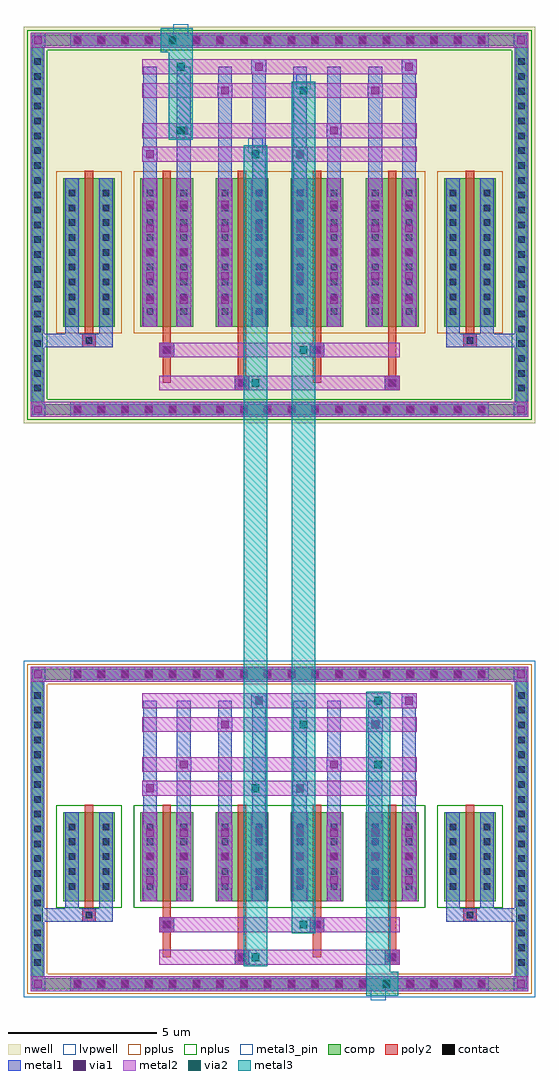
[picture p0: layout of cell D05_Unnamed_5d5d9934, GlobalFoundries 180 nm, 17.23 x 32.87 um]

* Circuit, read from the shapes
.subckt D05_Unnamed_5d5d9934 VSS
XM1 VSS VSS VSS VSS nfet_03v3 w=3u l=0.28u m=2
XM2 VSS D05_Unnamed_7b27bf8f_18/RFN D05_Unnamed_735a932f_17/RFP VSS nfet_03v3 w=3u l=0.28u m=2
XM3 VSS D05_Unnamed_735a932f_17/RFP D05_Unnamed_7b27bf8f_18/RFN VSS nfet_03v3 w=3u l=0.28u m=2
XM4 D05_Unnamed_7690526e_16/VRECT D05_Unnamed_7690526e_16/VRECT D05_Unnamed_7690526e_16/VRECT D05_Unnamed_7690526e_16/VRECT pfet_03v3 w=5u l=0.28u m=2
XM5 D05_Unnamed_7690526e_16/VRECT D05_Unnamed_7b27bf8f_18/RFN D05_Unnamed_735a932f_17/RFP D05_Unnamed_7690526e_16/VRECT pfet_03v3 w=5u l=0.28u m=2
XM6 D05_Unnamed_7690526e_16/VRECT D05_Unnamed_735a932f_17/RFP D05_Unnamed_7b27bf8f_18/RFN D05_Unnamed_7690526e_16/VRECT pfet_03v3 w=5u l=0.28u m=2
.ends

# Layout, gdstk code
import gdstk
lib = gdstk.Library(unit=1e-6, precision=5e-09)
def R(c, l, rs):  # rectangles x0, y0, x1, y1
    for r in rs: c.add(gdstk.rectangle(r[:2], r[2:], *l))
def A(c, l, x, y, w, h, nx, ny, dx, dy):  # array of equal rectangles
    R(c, l, [(x+i*dx, y+j*dy, x+i*dx+w, y+j*dy+h) for i in range(nx) for j in range(ny)])
def P(c, l, *ps):  # polygons
    for p in ps: c.add(gdstk.Polygon(p, *l))
nwell = (21, 0)
comp = (22, 0)
poly2 = (30, 0)
pplus = (31, 0)
nplus = (32, 0)
contact = (33, 0)
metal1 = (34, 0)
via1 = (35, 0)
metal2 = (36, 0)
via2 = (38, 0)
metal3 = (42, 0)
metal3_pin = (42, 10)
lvpwell = (204, 0)

d05_unnamed_611bf929_1 = lib.new_cell('D05_Unnamed_611bf929_1')
R(d05_unnamed_611bf929_1, nwell, [(-8.455,-6.515,8.455,6.515)])
A(d05_unnamed_611bf929_1, comp, -6.98, -6.395, 0.36, 0.36, 18, 2, 0.8, 12.43)
A(d05_unnamed_611bf929_1, comp, -8.335, -5.68, 0.36, 0.36, 1, 23, 0, 0.5)
A(d05_unnamed_611bf929_1, comp, 7.975, -5.68, 0.36, 0.36, 1, 23, 0, 0.5)
R(d05_unnamed_611bf929_1, comp, [(-6.98,-6.395,6.98,-6.035), (-8.335,-5.68,-7.975,5.68), (7.975,-5.68,8.335,5.68), (-6.98,6.035,6.98,6.395)])
P(d05_unnamed_611bf929_1, comp, [(-8.335,-6.395),(-8.335,-6.035),(-7.975,-6.035),(7.975,-6.035),(7.975,6.035),(-7.975,6.035),(-7.975,-6.035),(-8.335,-6.035),(-8.335,6.395),(8.335,6.395),(8.335,-6.395)])
P(d05_unnamed_611bf929_1, nplus, [(-8.495,-6.555),(-8.495,-5.875),(-7.815,-5.875),(7.815,-5.875),(7.815,5.875),(-7.815,5.875),(-7.815,-5.875),(-8.495,-5.875),(-8.495,6.555),(8.495,6.555),(8.495,-6.555)])
A(d05_unnamed_611bf929_1, contact, -6.91, -6.325, 0.22, 0.22, 18, 2, 0.8, 12.43)
A(d05_unnamed_611bf929_1, contact, -8.265, -5.61, 0.22, 0.22, 1, 23, 0, 0.5)
A(d05_unnamed_611bf929_1, contact, 8.045, -5.61, 0.22, 0.22, 1, 23, 0, 0.5)
A(d05_unnamed_611bf929_1, metal1, -7.05, -6.465, 0.5, 0.5, 18, 2, 0.8, 12.43)
A(d05_unnamed_611bf929_1, metal1, -8.385, -5.73, 0.46, 0.46, 1, 23, 0, 0.5)
A(d05_unnamed_611bf929_1, metal1, 7.925, -5.73, 0.46, 0.46, 1, 23, 0, 0.5)
R(d05_unnamed_611bf929_1, metal1, [(-8.385,-6.465,-7.885,-5.965), (-8.385,-6.465,-7.885,-5.965), (-8.385,-6.465,-7.925,-6.035), (-7.05,-6.465,7.05,-5.965), (7.885,-6.465,8.385,-5.965), (7.885,-6.465,8.385,-5.965), (7.925,-6.465,8.385,-6.035), (-8.385,-6.035,-7.925,6.035), (7.925,-6.035,8.385,6.035), (-8.385,5.965,-7.885,6.465), (-8.385,5.965,-7.885,6.465), (-7.05,5.965,7.05,6.465), (7.885,5.965,8.385,6.465), (7.885,5.965,8.385,6.465), (-8.385,6.035,-7.925,6.465), (7.925,6.035,8.385,6.465)])
A(d05_unnamed_611bf929_1, via1, -6.93, -6.345, 0.26, 0.26, 18, 2, 0.8, 12.43)
R(d05_unnamed_611bf929_1, via1, [(-8.265,-6.345,-8.005,-6.085), (8.005,-6.345,8.265,-6.085), (-8.265,6.085,-8.005,6.345), (8.005,6.085,8.265,6.345)])
A(d05_unnamed_611bf929_1, metal2, -7.05, -6.465, 0.5, 0.5, 18, 2, 0.8, 12.43)
R(d05_unnamed_611bf929_1, metal2, [(-8.385,-6.465,-7.975,-5.965), (-8.385,-6.465,-7.885,-5.965), (-8.385,-6.465,-7.885,-5.965), (-7.975,-6.465,7.975,-5.965), (7.885,-6.465,8.385,-5.965), (7.885,-6.465,8.385,-5.965), (7.975,-6.465,8.385,-5.965), (-8.385,5.965,-7.975,6.465), (-8.385,5.965,-7.885,6.465), (-8.385,5.965,-7.885,6.465), (-7.975,5.965,7.975,6.465), (7.885,5.965,8.385,6.465), (7.885,5.965,8.385,6.465), (7.975,5.965,8.385,6.465)])

d05_straight_route_72f73 = lib.new_cell('D05_straight_route_72f736a4_1')
R(d05_straight_route_72f73, metal1, [(-8.385,-4.125,-6.645,-3.665)])

d05_straight_route_c9a99 = lib.new_cell('D05_straight_route_c9a99b65_1')
R(d05_straight_route_c9a99, metal1, [(6.645,-4.125,8.385,-3.665)])

d05_transformed_901ced44 = lib.new_cell('D05_transformed_901ced44')
R(d05_transformed_901ced44, nwell, [(-8.615,-6.675,8.615,6.675)])
A(d05_transformed_901ced44, comp, -4.685, -3.425, 1.78, 5, 4, 1, 2.53, 0)
R(d05_transformed_901ced44, comp, [(-7.285,-3.425,-5.545,1.575), (5.545,-3.425,7.285,1.575)])
A(d05_transformed_901ced44, poly2, -3.935, -3.665, 0.28, 5.48, 4, 1, 2.53, 0)
R(d05_transformed_901ced44, poly2, [(-1.515,-5.575,-1.015,-5.075), (3.545,-5.575,4.045,-5.075), (-1.445,-5.505,-1.085,-5.145), (3.615,-5.505,3.975,-5.145), (-3.935,-5.325,-3.655,-3.665), (1.125,-5.325,1.405,-3.665), (-1.405,-5.075,-1.125,-3.665), (3.655,-5.075,3.935,-3.665), (-4.045,-4.465,-3.545,-3.965), (1.015,-4.465,1.515,-3.965), (-3.975,-4.395,-3.615,-4.035), (1.085,-4.395,1.445,-4.035), (-6.645,-4.125,-6.185,-3.665), (6.185,-4.125,6.645,-3.665), (-6.595,-4.075,-6.235,-3.715), (6.235,-4.075,6.595,-3.715), (-3.935,-3.965,-3.655,-3.665), (1.125,-3.965,1.405,-3.665), (-6.555,-3.665,-6.275,1.815), (6.275,-3.665,6.555,1.815)])
A(d05_transformed_901ced44, pplus, -4.915, -3.655, 2.24, 5.46, 4, 1, 2.53, 0)
R(d05_transformed_901ced44, pplus, [(-7.515,-3.655,-5.315,1.805), (-4.915,-3.655,4.915,1.805), (5.315,-3.655,7.515,1.805)])
A(d05_transformed_901ced44, contact, -7.095, -3.035, 0.22, 0.22, 1, 9, 0, 0.5)
A(d05_transformed_901ced44, contact, -5.955, -3.035, 0.22, 0.22, 1, 9, 0, 0.5)
A(d05_transformed_901ced44, contact, -4.475, -3.035, 0.22, 0.22, 1, 9, 0, 0.5)
A(d05_transformed_901ced44, contact, -3.335, -3.035, 0.22, 0.22, 1, 9, 0, 0.5)
A(d05_transformed_901ced44, contact, -1.945, -3.035, 0.22, 0.22, 1, 9, 0, 0.5)
A(d05_transformed_901ced44, contact, -0.805, -3.035, 0.22, 0.22, 1, 9, 0, 0.5)
A(d05_transformed_901ced44, contact, 0.585, -3.035, 0.22, 0.22, 1, 9, 0, 0.5)
A(d05_transformed_901ced44, contact, 1.725, -3.035, 0.22, 0.22, 1, 9, 0, 0.5)
A(d05_transformed_901ced44, contact, 3.115, -3.035, 0.22, 0.22, 1, 9, 0, 0.5)
A(d05_transformed_901ced44, contact, 4.255, -3.035, 0.22, 0.22, 1, 9, 0, 0.5)
A(d05_transformed_901ced44, contact, 5.735, -3.035, 0.22, 0.22, 1, 9, 0, 0.5)
A(d05_transformed_901ced44, contact, 6.875, -3.035, 0.22, 0.22, 1, 9, 0, 0.5)
R(d05_transformed_901ced44, contact, [(-1.375,-5.435,-1.155,-5.215), (3.685,-5.435,3.905,-5.215), (-3.905,-4.325,-3.685,-4.105), (1.155,-4.325,1.375,-4.105), (-6.525,-4.005,-6.305,-3.785), (6.305,-4.005,6.525,-3.785)])
A(d05_transformed_901ced44, metal1, -7.215, -3.155, 0.46, 0.46, 1, 9, 0, 0.5)
A(d05_transformed_901ced44, metal1, -6.075, -3.155, 0.46, 0.46, 1, 9, 0, 0.5)
A(d05_transformed_901ced44, metal1, -4.595, -3.155, 0.46, 0.46, 1, 9, 0, 0.5)
A(d05_transformed_901ced44, metal1, -3.455, -3.155, 0.46, 0.46, 1, 9, 0, 0.5)
A(d05_transformed_901ced44, metal1, -2.065, -3.155, 0.46, 0.46, 1, 9, 0, 0.5)
A(d05_transformed_901ced44, metal1, -0.925, -3.155, 0.46, 0.46, 1, 9, 0, 0.5)
A(d05_transformed_901ced44, metal1, 0.465, -3.155, 0.46, 0.46, 1, 9, 0, 0.5)
A(d05_transformed_901ced44, metal1, 1.605, -3.155, 0.46, 0.46, 1, 9, 0, 0.5)
A(d05_transformed_901ced44, metal1, 2.995, -3.155, 0.46, 0.46, 1, 9, 0, 0.5)
A(d05_transformed_901ced44, metal1, 4.135, -3.155, 0.46, 0.46, 1, 9, 0, 0.5)
A(d05_transformed_901ced44, metal1, 5.615, -3.155, 0.46, 0.46, 1, 9, 0, 0.5)
A(d05_transformed_901ced44, metal1, 6.755, -3.155, 0.46, 0.46, 1, 9, 0, 0.5)
A(d05_transformed_901ced44, metal1, -4.615, -2.775, 0.5, 0.5, 1, 5, 0, 0.8)
A(d05_transformed_901ced44, metal1, -3.475, -2.775, 0.5, 0.5, 1, 5, 0, 0.8)
A(d05_transformed_901ced44, metal1, -2.085, -2.775, 0.5, 0.5, 1, 5, 0, 0.8)
A(d05_transformed_901ced44, metal1, -0.945, -2.775, 0.5, 0.5, 1, 5, 0, 0.8)
A(d05_transformed_901ced44, metal1, 0.445, -2.775, 0.5, 0.5, 1, 5, 0, 0.8)
A(d05_transformed_901ced44, metal1, 1.585, -2.775, 0.5, 0.5, 1, 5, 0, 0.8)
A(d05_transformed_901ced44, metal1, 2.975, -2.775, 0.5, 0.5, 1, 5, 0, 0.8)
A(d05_transformed_901ced44, metal1, 4.115, -2.775, 0.5, 0.5, 1, 5, 0, 0.8)
R(d05_transformed_901ced44, metal1, [(-1.515,-5.575,-1.015,-5.075), (3.545,-5.575,4.045,-5.075), (-4.045,-4.465,-3.545,-3.965), (1.015,-4.465,1.515,-3.965), (-7.215,-4.125,-6.645,-3.665), (-7.215,-4.125,-6.755,-3.425), (-6.645,-4.125,-6.185,-3.665), (-6.185,-4.125,-5.615,-3.665), (-6.075,-4.125,-5.615,-3.425), (5.615,-4.125,6.185,-3.665), (5.615,-4.125,6.075,-3.425), (6.185,-4.125,6.645,-3.665), (6.645,-4.125,7.215,-3.665), (6.755,-4.125,7.215,-3.425), (-7.215,-3.425,-6.755,1.575), (-6.075,-3.425,-5.615,1.575), (-4.595,-3.425,-4.135,1.575), (-3.455,-3.425,-2.995,1.575), (-2.065,-3.425,-1.605,1.575), (-0.925,-3.425,-0.465,1.575), (0.465,-3.425,0.925,1.575), (1.605,-3.425,2.065,1.575), (2.995,-3.425,3.455,1.575), (4.135,-3.425,4.595,1.575), (5.615,-3.425,6.075,1.575), (6.755,-3.425,7.215,1.575), (-4.615,-2.775,-4.115,0.925), (-3.475,-2.775,-2.975,0.925), (-2.085,-2.775,-1.585,0.925), (-0.945,-2.775,-0.445,0.925), (0.445,-2.775,0.945,0.925), (1.585,-2.775,2.085,0.925), (2.975,-2.775,3.475,0.925), (4.115,-2.775,4.615,0.925), (-4.595,1.575,-4.135,2.625), (-4.595,1.575,-4.135,5.325), (-3.455,1.575,-2.995,3.425), (-3.455,1.575,-2.995,5.325), (-2.065,1.575,-1.605,4.775), (-2.065,1.575,-1.605,5.325), (-0.925,1.575,-0.465,5.575), (-0.925,1.575,-0.465,5.325), (0.465,1.575,0.925,2.625), (0.465,1.575,0.925,5.325), (1.605,1.575,2.065,3.425), (1.605,1.575,2.065,5.325), (2.995,1.575,3.455,4.775), (2.995,1.575,3.455,5.325), (4.135,1.575,4.595,5.575), (4.135,1.575,4.595,5.325), (-4.615,2.125,-4.115,2.625), (0.445,2.125,0.945,2.625), (-3.475,2.925,-2.975,3.425), (1.585,2.925,2.085,3.425), (-2.085,4.275,-1.585,4.775), (2.975,4.275,3.475,4.775), (-0.945,5.075,-0.445,5.575), (4.115,5.075,4.615,5.575)])
A(d05_transformed_901ced44, via1, -4.495, -2.655, 0.26, 0.26, 1, 5, 0, 0.8)
A(d05_transformed_901ced44, via1, -3.355, -2.655, 0.26, 0.26, 1, 5, 0, 0.8)
A(d05_transformed_901ced44, via1, -1.965, -2.655, 0.26, 0.26, 1, 5, 0, 0.8)
A(d05_transformed_901ced44, via1, -0.825, -2.655, 0.26, 0.26, 1, 5, 0, 0.8)
A(d05_transformed_901ced44, via1, 0.565, -2.655, 0.26, 0.26, 1, 5, 0, 0.8)
A(d05_transformed_901ced44, via1, 1.705, -2.655, 0.26, 0.26, 1, 5, 0, 0.8)
A(d05_transformed_901ced44, via1, 3.095, -2.655, 0.26, 0.26, 1, 5, 0, 0.8)
A(d05_transformed_901ced44, via1, 4.235, -2.655, 0.26, 0.26, 1, 5, 0, 0.8)
R(d05_transformed_901ced44, via1, [(-1.395,-5.455,-1.135,-5.195), (3.665,-5.455,3.925,-5.195), (-3.925,-4.345,-3.665,-4.085), (1.135,-4.345,1.395,-4.085), (-4.495,2.245,-4.235,2.505), (0.565,2.245,0.825,2.505), (-3.355,3.045,-3.095,3.305), (1.705,3.045,1.965,3.305), (-1.965,4.395,-1.705,4.655), (3.095,4.395,3.355,4.655), (-0.825,5.195,-0.565,5.455), (4.235,5.195,4.495,5.455)])
A(d05_transformed_901ced44, metal2, -4.615, -2.775, 0.5, 0.5, 1, 5, 0, 0.8)
A(d05_transformed_901ced44, metal2, -3.475, -2.775, 0.5, 0.5, 1, 5, 0, 0.8)
A(d05_transformed_901ced44, metal2, -2.085, -2.775, 0.5, 0.5, 1, 5, 0, 0.8)
A(d05_transformed_901ced44, metal2, -0.945, -2.775, 0.5, 0.5, 1, 5, 0, 0.8)
A(d05_transformed_901ced44, metal2, 0.445, -2.775, 0.5, 0.5, 1, 5, 0, 0.8)
A(d05_transformed_901ced44, metal2, 1.585, -2.775, 0.5, 0.5, 1, 5, 0, 0.8)
A(d05_transformed_901ced44, metal2, 2.975, -2.775, 0.5, 0.5, 1, 5, 0, 0.8)
A(d05_transformed_901ced44, metal2, 4.115, -2.775, 0.5, 0.5, 1, 5, 0, 0.8)
R(d05_transformed_901ced44, metal2, [(-4.045,-5.575,4.045,-5.075), (-1.515,-5.575,-1.015,-5.075), (-1.515,-5.575,-1.015,-5.075), (3.545,-5.575,4.045,-5.075), (3.545,-5.575,4.045,-5.075), (-4.045,-4.465,-3.545,-3.965), (-4.045,-4.465,-3.545,-3.965), (-4.045,-4.465,4.045,-3.965), (1.015,-4.465,1.515,-3.965), (1.015,-4.465,1.515,-3.965), (-4.615,-3.425,-4.115,1.575), (-3.475,-3.425,-2.975,1.575), (-2.085,-3.425,-1.585,1.575), (-0.945,-3.425,-0.445,1.575), (0.445,-3.425,0.945,1.575), (1.585,-3.425,2.085,1.575), (2.975,-3.425,3.475,1.575), (4.115,-3.425,4.615,1.575), (-4.615,2.125,-4.115,2.625), (-4.615,2.125,-2.975,2.625), (-4.615,2.125,4.615,2.625), (0.445,2.125,0.945,2.625), (0.445,2.125,2.085,2.625), (-4.615,2.925,-2.975,3.425), (-4.615,2.925,4.615,3.425), (-3.475,2.925,-2.975,3.425), (0.445,2.925,2.085,3.425), (1.585,2.925,2.085,3.425), (-4.615,4.275,4.615,4.775), (-2.085,4.275,-1.585,4.775), (-2.085,4.275,-0.445,4.775), (2.975,4.275,3.475,4.775), (2.975,4.275,4.615,4.775), (-4.615,5.075,4.615,5.575), (-2.085,5.075,-0.445,5.575), (-0.945,5.075,-0.445,5.575), (2.975,5.075,4.615,5.575), (4.115,5.075,4.615,5.575)])
d05_transformed_901ced44.add(gdstk.Reference(d05_unnamed_611bf929_1, (0,0)))
d05_transformed_901ced44.add(gdstk.Reference(d05_straight_route_72f73, (0,0)))
d05_transformed_901ced44.add(gdstk.Reference(d05_straight_route_c9a99, (0,0)))

d05_unnamed_8a1b80f1_1 = lib.new_cell('D05_Unnamed_8a1b80f1_1')
A(d05_unnamed_8a1b80f1_1, comp, -6.98, -5.39, 0.36, 0.36, 18, 2, 0.8, 10.42)
A(d05_unnamed_8a1b80f1_1, comp, -8.335, -4.68, 0.36, 0.36, 1, 19, 0, 0.5)
A(d05_unnamed_8a1b80f1_1, comp, 7.975, -4.68, 0.36, 0.36, 1, 19, 0, 0.5)
R(d05_unnamed_8a1b80f1_1, comp, [(-6.98,-5.39,6.98,-5.03), (-8.335,-4.68,-7.975,4.68), (7.975,-4.68,8.335,4.68), (-6.98,5.03,6.98,5.39)])
P(d05_unnamed_8a1b80f1_1, comp, [(-8.335,-5.39),(-8.335,-5.03),(-7.975,-5.03),(7.975,-5.03),(7.975,5.03),(-7.975,5.03),(-7.975,-5.03),(-8.335,-5.03),(-8.335,5.39),(8.335,5.39),(8.335,-5.39)])
P(d05_unnamed_8a1b80f1_1, pplus, [(-8.495,-5.55),(-8.495,-4.87),(-7.815,-4.87),(7.815,-4.87),(7.815,4.87),(-7.815,4.87),(-7.815,-4.87),(-8.495,-4.87),(-8.495,5.55),(8.495,5.55),(8.495,-5.55)])
A(d05_unnamed_8a1b80f1_1, contact, -6.91, -5.32, 0.22, 0.22, 18, 2, 0.8, 10.42)
A(d05_unnamed_8a1b80f1_1, contact, -8.265, -4.61, 0.22, 0.22, 1, 19, 0, 0.5)
A(d05_unnamed_8a1b80f1_1, contact, 8.045, -4.61, 0.22, 0.22, 1, 19, 0, 0.5)
A(d05_unnamed_8a1b80f1_1, metal1, -7.05, -5.46, 0.5, 0.5, 18, 2, 0.8, 10.42)
A(d05_unnamed_8a1b80f1_1, metal1, -8.385, -4.73, 0.46, 0.46, 1, 19, 0, 0.5)
A(d05_unnamed_8a1b80f1_1, metal1, 7.925, -4.73, 0.46, 0.46, 1, 19, 0, 0.5)
R(d05_unnamed_8a1b80f1_1, metal1, [(-8.385,-5.46,-7.885,-4.96), (-8.385,-5.46,-7.885,-4.96), (-8.385,-5.46,-7.925,-5.03), (-7.05,-5.46,7.05,-4.96), (7.885,-5.46,8.385,-4.96), (7.885,-5.46,8.385,-4.96), (7.925,-5.46,8.385,-5.03), (-8.385,-5.03,-7.925,5.03), (7.925,-5.03,8.385,5.03), (-8.385,4.96,-7.885,5.46), (-8.385,4.96,-7.885,5.46), (-7.05,4.96,7.05,5.46), (7.885,4.96,8.385,5.46), (7.885,4.96,8.385,5.46), (-8.385,5.03,-7.925,5.46), (7.925,5.03,8.385,5.46)])
A(d05_unnamed_8a1b80f1_1, via1, -6.93, -5.34, 0.26, 0.26, 18, 2, 0.8, 10.42)
R(d05_unnamed_8a1b80f1_1, via1, [(-8.265,-5.34,-8.005,-5.08), (8.005,-5.34,8.265,-5.08), (-8.265,5.08,-8.005,5.34), (8.005,5.08,8.265,5.34)])
A(d05_unnamed_8a1b80f1_1, metal2, -7.05, -5.46, 0.5, 0.5, 18, 2, 0.8, 10.42)
R(d05_unnamed_8a1b80f1_1, metal2, [(-8.385,-5.46,-7.975,-4.96), (-8.385,-5.46,-7.885,-4.96), (-8.385,-5.46,-7.885,-4.96), (-7.975,-5.46,7.975,-4.96), (7.885,-5.46,8.385,-4.96), (7.885,-5.46,8.385,-4.96), (7.975,-5.46,8.385,-4.96), (-8.385,4.96,-7.975,5.46), (-8.385,4.96,-7.885,5.46), (-8.385,4.96,-7.885,5.46), (-7.975,4.96,7.975,5.46), (7.885,4.96,8.385,5.46), (7.885,4.96,8.385,5.46), (7.975,4.96,8.385,5.46)])

d05_straight_route_810a0 = lib.new_cell('D05_straight_route_810a05b2_1')
R(d05_straight_route_810a0, metal1, [(-8.385,-3.13,-6.645,-2.67)])

d05_straight_route_8cf61 = lib.new_cell('D05_straight_route_8cf611d4_1')
R(d05_straight_route_8cf61, metal1, [(6.645,-3.13,8.385,-2.67)])

d05_transformed_08b99191 = lib.new_cell('D05_transformed_08b99191')
A(d05_transformed_08b99191, comp, -4.685, -2.43, 1.78, 3, 4, 1, 2.53, 0)
R(d05_transformed_08b99191, comp, [(-7.285,-2.43,-5.545,0.57), (5.545,-2.43,7.285,0.57)])
A(d05_transformed_08b99191, poly2, -3.935, -2.67, 0.28, 3.48, 4, 1, 2.53, 0)
R(d05_transformed_08b99191, poly2, [(-1.515,-4.57,-1.015,-4.07), (3.545,-4.57,4.045,-4.07), (-1.445,-4.5,-1.085,-4.14), (3.615,-4.5,3.975,-4.14), (-3.935,-4.32,-3.655,-2.67), (1.125,-4.32,1.405,-2.67), (-1.405,-4.07,-1.125,-2.67), (3.655,-4.07,3.935,-2.67), (-4.045,-3.47,-3.545,-2.97), (1.015,-3.47,1.515,-2.97), (-3.975,-3.4,-3.615,-3.04), (1.085,-3.4,1.445,-3.04), (-6.645,-3.13,-6.185,-2.67), (6.185,-3.13,6.645,-2.67), (-6.595,-3.08,-6.235,-2.72), (6.235,-3.08,6.595,-2.72), (-3.935,-2.97,-3.655,-2.67), (1.125,-2.97,1.405,-2.67), (-6.555,-2.67,-6.275,0.81), (6.275,-2.67,6.555,0.81)])
A(d05_transformed_08b99191, nplus, -4.915, -2.66, 2.24, 3.46, 4, 1, 2.53, 0)
R(d05_transformed_08b99191, nplus, [(-7.515,-2.66,-5.315,0.8), (-4.915,-2.66,4.915,0.8), (5.315,-2.66,7.515,0.8)])
A(d05_transformed_08b99191, contact, -7.095, -2.04, 0.22, 0.22, 1, 5, 0, 0.5)
A(d05_transformed_08b99191, contact, -5.955, -2.04, 0.22, 0.22, 1, 5, 0, 0.5)
A(d05_transformed_08b99191, contact, -4.475, -2.04, 0.22, 0.22, 1, 5, 0, 0.5)
A(d05_transformed_08b99191, contact, -3.335, -2.04, 0.22, 0.22, 1, 5, 0, 0.5)
A(d05_transformed_08b99191, contact, -1.945, -2.04, 0.22, 0.22, 1, 5, 0, 0.5)
A(d05_transformed_08b99191, contact, -0.805, -2.04, 0.22, 0.22, 1, 5, 0, 0.5)
A(d05_transformed_08b99191, contact, 0.585, -2.04, 0.22, 0.22, 1, 5, 0, 0.5)
A(d05_transformed_08b99191, contact, 1.725, -2.04, 0.22, 0.22, 1, 5, 0, 0.5)
A(d05_transformed_08b99191, contact, 3.115, -2.04, 0.22, 0.22, 1, 5, 0, 0.5)
A(d05_transformed_08b99191, contact, 4.255, -2.04, 0.22, 0.22, 1, 5, 0, 0.5)
A(d05_transformed_08b99191, contact, 5.735, -2.04, 0.22, 0.22, 1, 5, 0, 0.5)
A(d05_transformed_08b99191, contact, 6.875, -2.04, 0.22, 0.22, 1, 5, 0, 0.5)
R(d05_transformed_08b99191, contact, [(-1.375,-4.43,-1.155,-4.21), (3.685,-4.43,3.905,-4.21), (-3.905,-3.33,-3.685,-3.11), (1.155,-3.33,1.375,-3.11), (-6.525,-3.01,-6.305,-2.79), (6.305,-3.01,6.525,-2.79)])
A(d05_transformed_08b99191, metal1, -7.215, -2.16, 0.46, 0.46, 1, 5, 0, 0.5)
A(d05_transformed_08b99191, metal1, -6.075, -2.16, 0.46, 0.46, 1, 5, 0, 0.5)
A(d05_transformed_08b99191, metal1, -4.595, -2.16, 0.46, 0.46, 1, 5, 0, 0.5)
A(d05_transformed_08b99191, metal1, -3.455, -2.16, 0.46, 0.46, 1, 5, 0, 0.5)
A(d05_transformed_08b99191, metal1, -2.065, -2.16, 0.46, 0.46, 1, 5, 0, 0.5)
A(d05_transformed_08b99191, metal1, -0.925, -2.16, 0.46, 0.46, 1, 5, 0, 0.5)
A(d05_transformed_08b99191, metal1, 0.465, -2.16, 0.46, 0.46, 1, 5, 0, 0.5)
A(d05_transformed_08b99191, metal1, 1.605, -2.16, 0.46, 0.46, 1, 5, 0, 0.5)
A(d05_transformed_08b99191, metal1, 2.995, -2.16, 0.46, 0.46, 1, 5, 0, 0.5)
A(d05_transformed_08b99191, metal1, 4.135, -2.16, 0.46, 0.46, 1, 5, 0, 0.5)
A(d05_transformed_08b99191, metal1, 5.615, -2.16, 0.46, 0.46, 1, 5, 0, 0.5)
A(d05_transformed_08b99191, metal1, 6.755, -2.16, 0.46, 0.46, 1, 5, 0, 0.5)
A(d05_transformed_08b99191, metal1, -4.615, -1.98, 0.5, 0.5, 1, 3, 0, 0.8)
A(d05_transformed_08b99191, metal1, -3.475, -1.98, 0.5, 0.5, 1, 3, 0, 0.8)
A(d05_transformed_08b99191, metal1, -2.085, -1.98, 0.5, 0.5, 1, 3, 0, 0.8)
A(d05_transformed_08b99191, metal1, -0.945, -1.98, 0.5, 0.5, 1, 3, 0, 0.8)
A(d05_transformed_08b99191, metal1, 0.445, -1.98, 0.5, 0.5, 1, 3, 0, 0.8)
A(d05_transformed_08b99191, metal1, 1.585, -1.98, 0.5, 0.5, 1, 3, 0, 0.8)
A(d05_transformed_08b99191, metal1, 2.975, -1.98, 0.5, 0.5, 1, 3, 0, 0.8)
A(d05_transformed_08b99191, metal1, 4.115, -1.98, 0.5, 0.5, 1, 3, 0, 0.8)
R(d05_transformed_08b99191, metal1, [(-1.515,-4.57,-1.015,-4.07), (3.545,-4.57,4.045,-4.07), (-4.045,-3.47,-3.545,-2.97), (1.015,-3.47,1.515,-2.97), (-7.215,-3.13,-6.645,-2.67), (-7.215,-3.13,-6.755,-2.43), (-6.645,-3.13,-6.185,-2.67), (-6.185,-3.13,-5.615,-2.67), (-6.075,-3.13,-5.615,-2.43), (5.615,-3.13,6.185,-2.67), (5.615,-3.13,6.075,-2.43), (6.185,-3.13,6.645,-2.67), (6.645,-3.13,7.215,-2.67), (6.755,-3.13,7.215,-2.43), (-7.215,-2.43,-6.755,0.57), (-6.075,-2.43,-5.615,0.57), (-4.595,-2.43,-4.135,0.57), (-3.455,-2.43,-2.995,0.57), (-2.065,-2.43,-1.605,0.57), (-0.925,-2.43,-0.465,0.57), (0.465,-2.43,0.925,0.57), (1.605,-2.43,2.065,0.57), (2.995,-2.43,3.455,0.57), (4.135,-2.43,4.595,0.57), (5.615,-2.43,6.075,0.57), (6.755,-2.43,7.215,0.57), (-4.615,-1.98,-4.115,0.12), (-3.475,-1.98,-2.975,0.12), (-2.085,-1.98,-1.585,0.12), (-0.945,-1.98,-0.445,0.12), (0.445,-1.98,0.945,0.12), (1.585,-1.98,2.085,0.12), (2.975,-1.98,3.475,0.12), (4.115,-1.98,4.615,0.12), (-4.595,0.57,-4.135,1.62), (-4.595,0.57,-4.135,4.32), (-3.455,0.57,-2.995,2.42), (-3.455,0.57,-2.995,4.32), (-2.065,0.57,-1.605,3.77), (-2.065,0.57,-1.605,4.32), (-0.925,0.57,-0.465,4.57), (-0.925,0.57,-0.465,4.32), (0.465,0.57,0.925,1.62), (0.465,0.57,0.925,4.32), (1.605,0.57,2.065,2.42), (1.605,0.57,2.065,4.32), (2.995,0.57,3.455,3.77), (2.995,0.57,3.455,4.32), (4.135,0.57,4.595,4.57), (4.135,0.57,4.595,4.32), (-4.615,1.12,-4.115,1.62), (0.445,1.12,0.945,1.62), (-3.475,1.92,-2.975,2.42), (1.585,1.92,2.085,2.42), (-2.085,3.27,-1.585,3.77), (2.975,3.27,3.475,3.77), (-0.945,4.07,-0.445,4.57), (4.115,4.07,4.615,4.57)])
A(d05_transformed_08b99191, via1, -4.495, -1.86, 0.26, 0.26, 1, 3, 0, 0.8)
A(d05_transformed_08b99191, via1, -3.355, -1.86, 0.26, 0.26, 1, 3, 0, 0.8)
A(d05_transformed_08b99191, via1, -1.965, -1.86, 0.26, 0.26, 1, 3, 0, 0.8)
A(d05_transformed_08b99191, via1, -0.825, -1.86, 0.26, 0.26, 1, 3, 0, 0.8)
A(d05_transformed_08b99191, via1, 0.565, -1.86, 0.26, 0.26, 1, 3, 0, 0.8)
A(d05_transformed_08b99191, via1, 1.705, -1.86, 0.26, 0.26, 1, 3, 0, 0.8)
A(d05_transformed_08b99191, via1, 3.095, -1.86, 0.26, 0.26, 1, 3, 0, 0.8)
A(d05_transformed_08b99191, via1, 4.235, -1.86, 0.26, 0.26, 1, 3, 0, 0.8)
R(d05_transformed_08b99191, via1, [(-1.395,-4.45,-1.135,-4.19), (3.665,-4.45,3.925,-4.19), (-3.925,-3.35,-3.665,-3.09), (1.135,-3.35,1.395,-3.09), (-4.495,1.24,-4.235,1.5), (0.565,1.24,0.825,1.5), (-3.355,2.04,-3.095,2.3), (1.705,2.04,1.965,2.3), (-1.965,3.39,-1.705,3.65), (3.095,3.39,3.355,3.65), (-0.825,4.19,-0.565,4.45), (4.235,4.19,4.495,4.45)])
A(d05_transformed_08b99191, metal2, -4.615, -1.98, 0.5, 0.5, 1, 3, 0, 0.8)
A(d05_transformed_08b99191, metal2, -3.475, -1.98, 0.5, 0.5, 1, 3, 0, 0.8)
A(d05_transformed_08b99191, metal2, -2.085, -1.98, 0.5, 0.5, 1, 3, 0, 0.8)
A(d05_transformed_08b99191, metal2, -0.945, -1.98, 0.5, 0.5, 1, 3, 0, 0.8)
A(d05_transformed_08b99191, metal2, 0.445, -1.98, 0.5, 0.5, 1, 3, 0, 0.8)
A(d05_transformed_08b99191, metal2, 1.585, -1.98, 0.5, 0.5, 1, 3, 0, 0.8)
A(d05_transformed_08b99191, metal2, 2.975, -1.98, 0.5, 0.5, 1, 3, 0, 0.8)
A(d05_transformed_08b99191, metal2, 4.115, -1.98, 0.5, 0.5, 1, 3, 0, 0.8)
R(d05_transformed_08b99191, metal2, [(-4.045,-4.57,4.045,-4.07), (-1.515,-4.57,-1.015,-4.07), (-1.515,-4.57,-1.015,-4.07), (3.545,-4.57,4.045,-4.07), (3.545,-4.57,4.045,-4.07), (-4.045,-3.47,-3.545,-2.97), (-4.045,-3.47,-3.545,-2.97), (-4.045,-3.47,4.045,-2.97), (1.015,-3.47,1.515,-2.97), (1.015,-3.47,1.515,-2.97), (-4.615,-2.43,-4.115,0.57), (-3.475,-2.43,-2.975,0.57), (-2.085,-2.43,-1.585,0.57), (-0.945,-2.43,-0.445,0.57), (0.445,-2.43,0.945,0.57), (1.585,-2.43,2.085,0.57), (2.975,-2.43,3.475,0.57), (4.115,-2.43,4.615,0.57), (-4.615,1.12,-4.115,1.62), (-4.615,1.12,-2.975,1.62), (-4.615,1.12,4.615,1.62), (0.445,1.12,0.945,1.62), (0.445,1.12,2.085,1.62), (-4.615,1.92,-2.975,2.42), (-4.615,1.92,4.615,2.42), (-3.475,1.92,-2.975,2.42), (0.445,1.92,2.085,2.42), (1.585,1.92,2.085,2.42), (-4.615,3.27,4.615,3.77), (-2.085,3.27,-1.585,3.77), (-2.085,3.27,-0.445,3.77), (2.975,3.27,3.475,3.77), (2.975,3.27,4.615,3.77), (-4.615,4.07,4.615,4.57), (-2.085,4.07,-0.445,4.57), (-0.945,4.07,-0.445,4.57), (2.975,4.07,4.615,4.57), (4.115,4.07,4.615,4.57)])
R(d05_transformed_08b99191, lvpwell, [(-8.615,-5.67,8.615,5.67)])
d05_transformed_08b99191.add(gdstk.Reference(d05_unnamed_8a1b80f1_1, (0,0)))
d05_transformed_08b99191.add(gdstk.Reference(d05_straight_route_810a0, (0,0)))
d05_transformed_08b99191.add(gdstk.Reference(d05_straight_route_8cf61, (0,0)))

d05_via_stack_c2d496bb_3 = lib.new_cell('D05_via_stack_c2d496bb_36')
R(d05_via_stack_c2d496bb_3, metal2, [(-0.25,-0.25,0.25,0.25)])
R(d05_via_stack_c2d496bb_3, via2, [(-0.13,-0.13,0.13,0.13)])
R(d05_via_stack_c2d496bb_3, metal3, [(-0.25,-0.25,0.25,0.25)])

c_d05_via_stack_c2d496bb_3 = lib.new_cell('D05_via_stack_c2d496bb_37')
R(c_d05_via_stack_c2d496bb_3, metal2, [(-0.25,-0.25,0.25,0.25)])
R(c_d05_via_stack_c2d496bb_3, via2, [(-0.13,-0.13,0.13,0.13)])
R(c_d05_via_stack_c2d496bb_3, metal3, [(-0.25,-0.25,0.25,0.25)])

c_d05_via_stack_c2d496bb_3_ = lib.new_cell('D05_via_stack_c2d496bb_38')
R(c_d05_via_stack_c2d496bb_3_, metal2, [(-0.25,-0.25,0.25,0.25)])
R(c_d05_via_stack_c2d496bb_3_, via2, [(-0.13,-0.13,0.13,0.13)])
R(c_d05_via_stack_c2d496bb_3_, metal3, [(-0.25,-0.25,0.25,0.25)])

c_d05_via_stack_c2d496bb_3__ = lib.new_cell('D05_via_stack_c2d496bb_39')
R(c_d05_via_stack_c2d496bb_3__, metal2, [(-0.25,-0.25,0.25,0.25)])
R(c_d05_via_stack_c2d496bb_3__, via2, [(-0.13,-0.13,0.13,0.13)])
R(c_d05_via_stack_c2d496bb_3__, metal3, [(-0.25,-0.25,0.25,0.25)])

d05_via_stack_c2d496bb_4 = lib.new_cell('D05_via_stack_c2d496bb_40')
R(d05_via_stack_c2d496bb_4, metal2, [(-0.25,-0.25,0.25,0.25)])
R(d05_via_stack_c2d496bb_4, via2, [(-0.13,-0.13,0.13,0.13)])
R(d05_via_stack_c2d496bb_4, metal3, [(-0.25,-0.25,0.25,0.25)])

c_d05_via_stack_c2d496bb_4 = lib.new_cell('D05_via_stack_c2d496bb_41')
R(c_d05_via_stack_c2d496bb_4, metal2, [(-0.25,-0.25,0.25,0.25)])
R(c_d05_via_stack_c2d496bb_4, via2, [(-0.13,-0.13,0.13,0.13)])
R(c_d05_via_stack_c2d496bb_4, metal3, [(-0.25,-0.25,0.25,0.25)])

c_d05_via_stack_c2d496bb_4_ = lib.new_cell('D05_via_stack_c2d496bb_42')
R(c_d05_via_stack_c2d496bb_4_, metal2, [(-0.25,-0.25,0.25,0.25)])
R(c_d05_via_stack_c2d496bb_4_, via2, [(-0.13,-0.13,0.13,0.13)])
R(c_d05_via_stack_c2d496bb_4_, metal3, [(-0.25,-0.25,0.25,0.25)])

c_d05_via_stack_c2d496bb_4__ = lib.new_cell('D05_via_stack_c2d496bb_43')
R(c_d05_via_stack_c2d496bb_4__, metal2, [(-0.25,-0.25,0.25,0.25)])
R(c_d05_via_stack_c2d496bb_4__, via2, [(-0.13,-0.13,0.13,0.13)])
R(c_d05_via_stack_c2d496bb_4__, metal3, [(-0.25,-0.25,0.25,0.25)])

c_d05_via_stack_c2d496bb_4___ = lib.new_cell('D05_via_stack_c2d496bb_44')
R(c_d05_via_stack_c2d496bb_4___, metal2, [(-0.25,-0.25,0.25,0.25)])
R(c_d05_via_stack_c2d496bb_4___, via2, [(-0.13,-0.13,0.13,0.13)])
R(c_d05_via_stack_c2d496bb_4___, metal3, [(-0.25,-0.25,0.25,0.25)])

c_d05_via_stack_c2d496bb_4____ = lib.new_cell('D05_via_stack_c2d496bb_45')
R(c_d05_via_stack_c2d496bb_4____, metal2, [(-0.25,-0.25,0.25,0.25)])
R(c_d05_via_stack_c2d496bb_4____, via2, [(-0.13,-0.13,0.13,0.13)])
R(c_d05_via_stack_c2d496bb_4____, metal3, [(-0.25,-0.25,0.25,0.25)])

c_d05_via_stack_c2d496bb_4_____ = lib.new_cell('D05_via_stack_c2d496bb_46')
R(c_d05_via_stack_c2d496bb_4_____, metal2, [(-0.25,-0.25,0.25,0.25)])
R(c_d05_via_stack_c2d496bb_4_____, via2, [(-0.13,-0.13,0.13,0.13)])
R(c_d05_via_stack_c2d496bb_4_____, metal3, [(-0.25,-0.25,0.25,0.25)])

c_d05_via_stack_c2d496bb_4______ = lib.new_cell('D05_via_stack_c2d496bb_47')
R(c_d05_via_stack_c2d496bb_4______, metal2, [(-0.25,-0.25,0.25,0.25)])
R(c_d05_via_stack_c2d496bb_4______, via2, [(-0.13,-0.13,0.13,0.13)])
R(c_d05_via_stack_c2d496bb_4______, metal3, [(-0.25,-0.25,0.25,0.25)])

c_d05_via_stack_c2d496bb_4_______ = lib.new_cell('D05_via_stack_c2d496bb_48')
R(c_d05_via_stack_c2d496bb_4_______, metal2, [(-0.25,-0.25,0.25,0.25)])
R(c_d05_via_stack_c2d496bb_4_______, via2, [(-0.13,-0.13,0.13,0.13)])
R(c_d05_via_stack_c2d496bb_4_______, metal3, [(-0.25,-0.25,0.25,0.25)])

c_d05_via_stack_c2d496bb_4________ = lib.new_cell('D05_via_stack_c2d496bb_49')
R(c_d05_via_stack_c2d496bb_4________, metal2, [(-0.25,-0.25,0.25,0.25)])
R(c_d05_via_stack_c2d496bb_4________, via2, [(-0.13,-0.13,0.13,0.13)])
R(c_d05_via_stack_c2d496bb_4________, metal3, [(-0.25,-0.25,0.25,0.25)])

d05_compass_65197a3d_8 = lib.new_cell('D05_compass_65197a3d_8')
R(d05_compass_65197a3d_8, metal3_pin, [(-0.25,-0.25,0.25,0.25)])

d05_unnamed_7690526e = lib.new_cell('D05_Unnamed_7690526e')
d05_unnamed_7690526e.add(gdstk.Reference(d05_compass_65197a3d_8, (0,0)))
d05_unnamed_7690526e.add(gdstk.Label('VRECT', (0,0), layer=42, texttype=10))

d05_compass_65197a3d_9 = lib.new_cell('D05_compass_65197a3d_9')
R(d05_compass_65197a3d_9, metal3_pin, [(-0.25,-0.25,0.25,0.25)])

d05_unnamed_735a932f = lib.new_cell('D05_Unnamed_735a932f')
d05_unnamed_735a932f.add(gdstk.Reference(d05_compass_65197a3d_9, (0,0)))
d05_unnamed_735a932f.add(gdstk.Label('RFP', (0,0), layer=42, texttype=10))

d05_compass_65197a3d_10 = lib.new_cell('D05_compass_65197a3d_10')
R(d05_compass_65197a3d_10, metal3_pin, [(-0.25,-0.25,0.25,0.25)])

d05_unnamed_7b27bf8f = lib.new_cell('D05_Unnamed_7b27bf8f')
d05_unnamed_7b27bf8f.add(gdstk.Reference(d05_compass_65197a3d_10, (0,0)))
d05_unnamed_7b27bf8f.add(gdstk.Label('RFN', (0,0), layer=42, texttype=10))

d05_compass_65197a3d_11 = lib.new_cell('D05_compass_65197a3d_11')
R(d05_compass_65197a3d_11, metal3_pin, [(-0.25,-0.25,0.25,0.25)])

d05_unnamed_38b852bc = lib.new_cell('D05_Unnamed_38b852bc')
d05_unnamed_38b852bc.add(gdstk.Reference(d05_compass_65197a3d_11, (0,0)))
d05_unnamed_38b852bc.add(gdstk.Label('VSS', (0,0), layer=42, texttype=10))

d05_unnamed_5d5d9934 = lib.new_cell('D05_Unnamed_5d5d9934')
R(d05_unnamed_5d5d9934, metal3, [(2.925,-5.61,4,-4.81), (2.925,-5.51,3.725,4.62), (-1.21,-4.62,-0.41,23.02), (0.41,-3.52,1.21,25.17), (-3.725,23.22,-2.925,26.86), (-4,26.16,-2.925,26.96)])
d05_unnamed_5d5d9934.add(gdstk.Reference(d05_transformed_901ced44, (0,20.345)))
d05_unnamed_5d5d9934.add(gdstk.Reference(d05_transformed_08b99191, (0,0)))
d05_unnamed_5d5d9934.add(gdstk.Reference(d05_via_stack_c2d496bb_3, (-3.325,23.52)))
d05_unnamed_5d5d9934.add(gdstk.Reference(c_d05_via_stack_c2d496bb_3, (-3.325,25.67)))
d05_unnamed_5d5d9934.add(gdstk.Reference(c_d05_via_stack_c2d496bb_3_, (-3.6,26.56)))
d05_unnamed_5d5d9934.add(gdstk.Reference(c_d05_via_stack_c2d496bb_3__, (-0.81,22.72)))
d05_unnamed_5d5d9934.add(gdstk.Reference(d05_via_stack_c2d496bb_4, (-0.81,15.02)))
d05_unnamed_5d5d9934.add(gdstk.Reference(c_d05_via_stack_c2d496bb_4, (-0.81,1.37)))
d05_unnamed_5d5d9934.add(gdstk.Reference(c_d05_via_stack_c2d496bb_4_, (-0.81,-4.32)))
d05_unnamed_5d5d9934.add(gdstk.Reference(c_d05_via_stack_c2d496bb_4__, (0.81,24.87)))
d05_unnamed_5d5d9934.add(gdstk.Reference(c_d05_via_stack_c2d496bb_4___, (0.81,16.13)))
d05_unnamed_5d5d9934.add(gdstk.Reference(c_d05_via_stack_c2d496bb_4____, (0.81,3.52)))
d05_unnamed_5d5d9934.add(gdstk.Reference(c_d05_via_stack_c2d496bb_4_____, (0.81,-3.22)))
d05_unnamed_5d5d9934.add(gdstk.Reference(c_d05_via_stack_c2d496bb_4______, (3.325,2.17)))
d05_unnamed_5d5d9934.add(gdstk.Reference(c_d05_via_stack_c2d496bb_4_______, (3.325,4.32)))
d05_unnamed_5d5d9934.add(gdstk.Reference(c_d05_via_stack_c2d496bb_4________, (3.6,-5.21)))
d05_unnamed_5d5d9934.add(gdstk.Reference(d05_unnamed_7690526e, (-3.325,26.86)))
d05_unnamed_5d5d9934.add(gdstk.Reference(d05_unnamed_735a932f, (-0.81,23.02)))
d05_unnamed_5d5d9934.add(gdstk.Reference(d05_unnamed_7b27bf8f, (0.81,25.17)))
d05_unnamed_5d5d9934.add(gdstk.Reference(d05_unnamed_38b852bc, (3.325,-5.51)))

lib.write_gds('D05_Unnamed_5d5d9934.gds')
